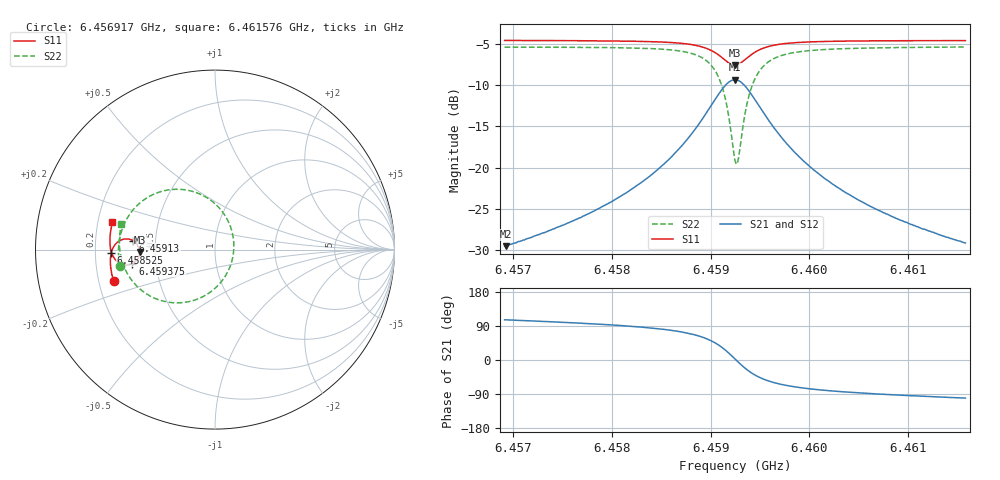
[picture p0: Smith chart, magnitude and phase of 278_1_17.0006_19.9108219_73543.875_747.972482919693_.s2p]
#  HZ  S  RI  R  50.00
! Rohde & Schwarz Vector Network Analyzer
! Rohde-Schwarz,ZNB20-2Port,1311601062101988,3.16
! Created: UTC 3/20/2024, 11:04:28 PM
! freq[Hz]  re:S11  im:S11  re:S21  im:S21  re:S12  im:S12  re:S22  im:S22
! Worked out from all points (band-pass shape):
!   401 points, 6.456917 GHz to 6.461576 GHz, reference 50 ohm
!   highest |S21| = -9.32 dB at 6.459247 GHz (marker M1); lowest = -29.6 dB at 6.456929 GHz (marker M2)
!   |S21| within 3 dB of the highest: 6.459014 GHz to 6.45948 GHz (466 kHz wide, 0.00722 % of centre)
!   lowest |S11| = -7.5 dB at 6.459247 GHz (marker M3), VSWR 2.45, Z = 20.4 - j0.625 ohm
!   |S11| at or under -10 dB: nowhere
!   |S22| runs from -19.6 to -5.3 dB; largest |S21 - S12| = 0.013
!   S11 on the Smith chart (normalised r, x): 6.456917 GHz: 0.26, -0.14; 6.458525 GHz: 0.27, -0.02; 6.45913 GHz: 0.37, +0.05; 6.459375 GHz: 0.37, -0.07; 6.461576 GHz: 0.26, +0.12
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6.4569174e9  -0.565 -0.1774  -0.00916 0.032  -0.00736 0.032  -0.5307 -0.0941
6.4569291e9  -0.5653 -0.1764  -0.0091 0.032  -0.00748 0.0322  -0.531 -0.0929
6.4576978e9  -0.5798 -0.1095  -0.00605 0.0497  -0.00361 0.0493  -0.5377 -0.0034
6.4581287e9  -0.5831 -0.0665  -0.000426 0.0691  0.00293 0.0679  -0.5304 0.0643
6.4584782e9  -0.5796 -0.0251  0.0132 0.0979  0.0171 0.0952  -0.506 0.1421
6.4585247e9  -0.5782 -0.0189  0.0165 0.1033  0.0206 0.1004  -0.4999 0.1554
6.4587344e9  -0.5663 0.0131  0.0423 0.1349  0.0464 0.1301  -0.4518 0.227
6.4588858e9  -0.5454 0.0394  0.0844 0.1654  0.0878 0.1588  -0.374 0.2916
6.4590372e9  -0.4996 0.0592  0.1756 0.1845  0.1767 0.1771  -0.2075 0.3362
6.4591304e9  -0.4554 0.0495  0.2647 0.154  0.2651 0.1481  -0.0422 0.2874
6.459177e9  -0.4343 0.0308  0.3082 0.1117  0.3095 0.1064  0.0401 0.2122
6.4592469e9  -0.4197 -0.0126  0.3416 0.0159  0.3451 0.0089  0.1051 0.0346
6.4592818e9  -0.4235 -0.0361  0.336 -0.036  0.3398 -0.045  0.0943 -0.0639
6.459375e9  -0.4606 -0.0778  0.2666 -0.1361  0.2658 -0.1492  -0.0459 -0.2502
6.4594216e9  -0.4832 -0.0847  0.2229 -0.1586  0.2191 -0.1713  -0.1336 -0.2872
6.4594798e9  -0.5081 -0.0839  0.1741 -0.1681  0.1676 -0.1789  -0.2297 -0.2961
6.4596312e9  -0.5491 -0.0623  0.0916 -0.1523  0.0834 -0.158  -0.3865 -0.2435
6.4597943e9  -0.5693 -0.0347  0.0496 -0.1251  0.0421 -0.1277  -0.462 -0.1733
6.4600272e9  -0.5811 -0.00112  0.0227 -0.096  0.0169 -0.0966  -0.5065 -0.0962
6.4603534e9  -0.5856 0.0376  0.00724 -0.0709  0.00307 -0.0705  -0.5273 -0.022
6.4608076e9  -0.5838 0.0831  -0.00119 -0.0514  -0.00389 -0.0505  -0.5328 0.0509
6.4615763e9  -0.5715 0.151  -0.00632 -0.0343  -0.00806 -0.0334  -0.5218 0.1411
